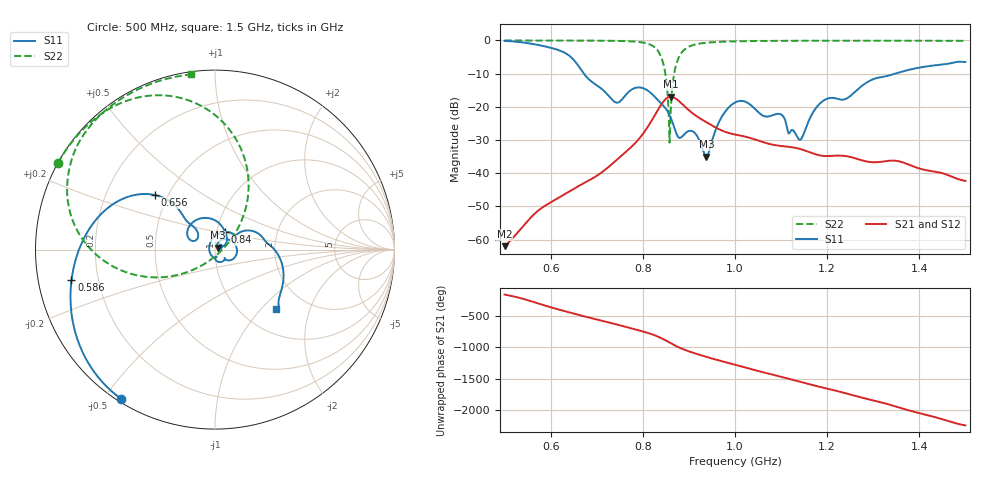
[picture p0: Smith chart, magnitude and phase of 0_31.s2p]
! TOUCHSTONE file generated by CST MICROWAVE STUDIO
! Date and time: Sat Oct 24 11:16:29 2020
! Project name: Scenario_1_Circular_Tissue_in_Line.cst
! Parameters = {L_HA=400; MT=2.54; Rad_Dielectric=30; Rad_Lower=7.3; Rad_Upper=30; a_HA=580; a_WG=246; b_HA=500; b_WG=121; c_HA=0; c_WG=187; d_feed=85; dx1=692.6; h_feed=15; h_lower=18; h_upper=40}
! Header version: 2018
! Port assignment regex: !\s*Touchstone port\s*([0-9]+)\s*=\s*(CST MWS port|CST DS port)\s*([0-9]+|Zmin|Zmax)\s*\(\"(.*)\"\)(\s*mode\s*([0-9]+))?.*
! Touchstone port assignment:
! Touchstone port 1 = CST MWS port 1 ("")
! Touchstone port 2 = CST MWS port 2 ("")
# GHz S DB R 50
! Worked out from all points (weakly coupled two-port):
!   1003 points, 500 MHz to 1.5 GHz, reference 50 ohm
!   highest |S21| = -16.97 dB at 861 MHz (marker M1); lowest = -61.9 dB at 500 MHz (marker M2)
!   lowest |S11| = -35.0 dB at 938 MHz (marker M3), VSWR 1.04, Z = 51.5 + j1.07 ohm
!   |S11| at or under -10 dB: 672 MHz to 1.348 GHz (675.6 MHz wide, 66.9 % of centre)
!   |S22| runs from -30.8 to 0.0 dB; largest |S21 - S12| = 0.00031
!   S11 on the Smith chart (normalised r, x): 500 MHz: 0.01, -0.55; 586 MHz: 0.10, -0.10; 656 MHz: 0.42, +0.32; 840 MHz: 1.10, +0.21; 1.5 GHz: 1.42, -1.21
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0.5  -0.16 -122.2  -61.95 -166.1  -61.95 -166.1  -0.01 151.1
0.586  -1.75 -167.9  -49.94 22.4  -49.95 22.5  -0.02 145.1
0.656  -6.87 137.8  -44.19 -119.4  -44.19 -119.4  -0.04 139.4
0.667  -9.03 132.6  -43.35 -140.6  -43.35 -140.7  -0.04 138.3
0.741  -18.66 144.7  -36.25 84.2  -36.26 84.2  -0.13 129.1
0.779  -14.53 144.2  -31.53 10.4  -31.53 10.4  -0.32 120.6
0.834  -18.15 66.8  -20.61 -116.2  -20.61 -116.2  -3.40 83.4
0.84  -19.02 59.3  -19.29 -136.6  -19.29 -136.6  -5.08 73.8
0.849  -20.40 46.7  -17.73 -170.6  -17.73 -170.6  -10.18 55.2
0.856  -21.91 35.6  -17.08 161.1  -17.08 161.1  -22.12 25.0
0.861  -23.43 28.4  -16.97 140.7  -16.97 140.7  -19.76 -127.3
0.867  -25.75 23.6  -17.17 117.1  -17.17 117.1  -10.77 -149.0
0.881  -29.34 40.1  -18.59 67.9  -18.59 67.9  -4.35 -173.0
0.91  -27.54 23.0  -22.15 -10.4  -22.15 -10.4  -1.34 162.6
0.938  -34.98 35.7  -24.63 -73.5  -24.63 -73.5  -0.69 152.0
0.969  -23.56 55.4  -26.97 -137.1  -26.97 -137.1  -0.40 145.1
1  -18.69 13.3  -28.33 163.7  -28.33 163.7  -0.27 140.2
1.1  -22.29 -63.4  -31.79 -28.5  -31.80 -28.5  -0.12 129.7
1.14  -29.89 -165.7  -32.64 -106.5  -32.64 -106.5  -0.10 126.3
1.167  -22.23 87.2  -33.91 -158.0  -33.91 -158.0  -0.09 124.2
1.334  -10.56 6.5  -36.24 -107.1  -36.22 -107.1  -0.09 111.4
1.5  -6.52 -44.3  -42.30 -79.5  -42.30 -79.5  -0.13 97.9
